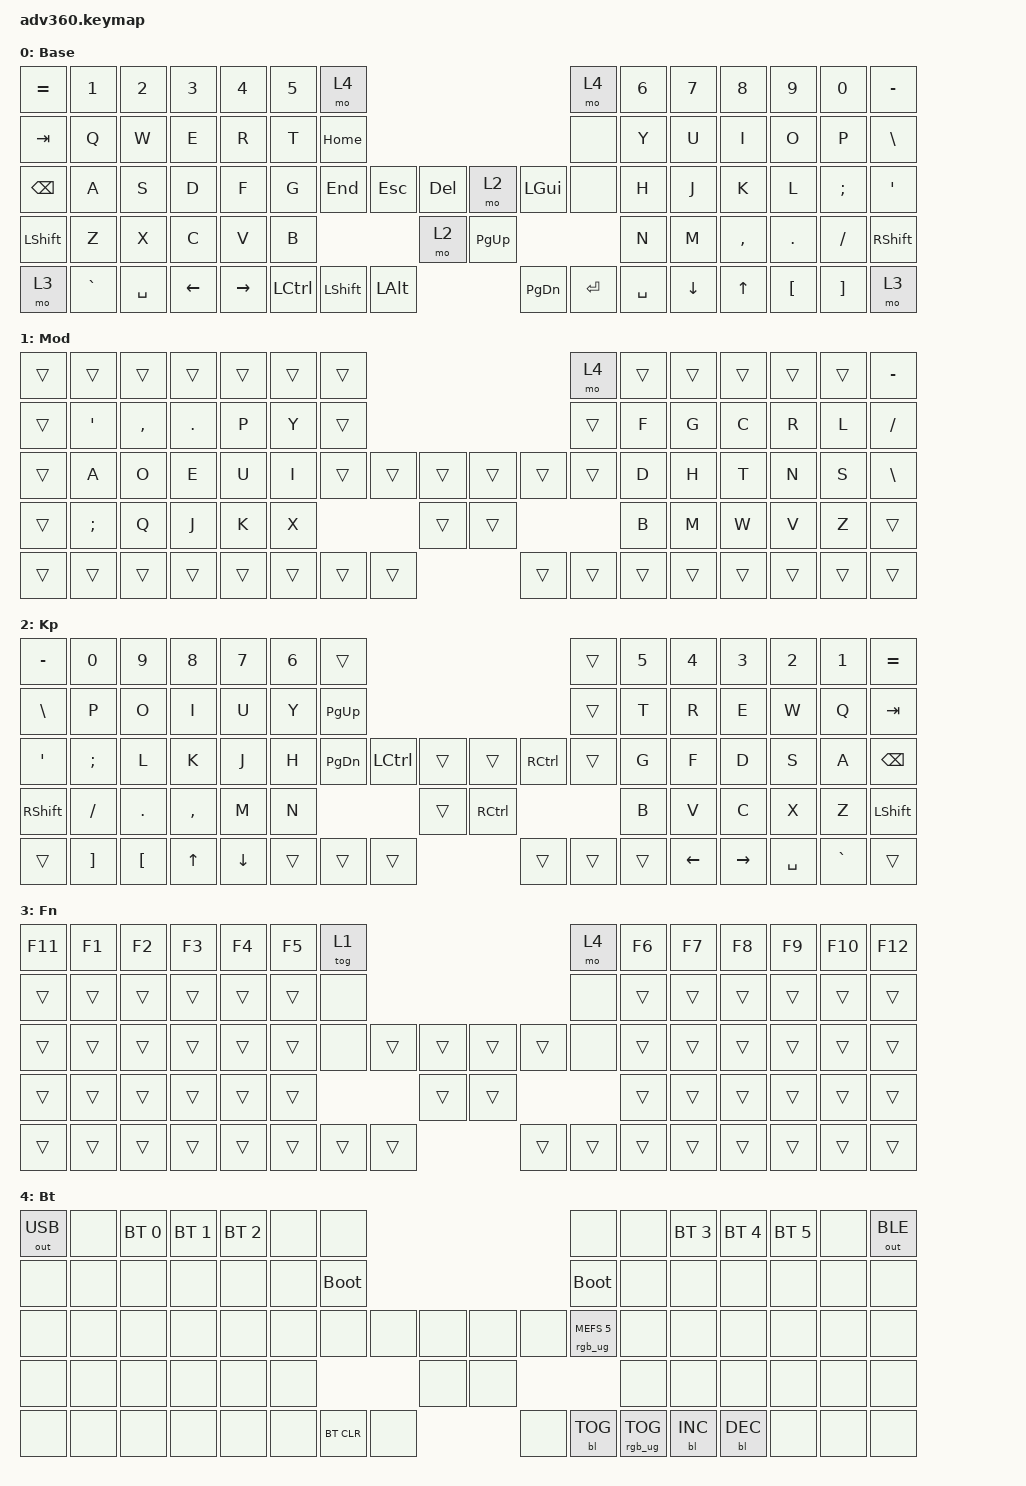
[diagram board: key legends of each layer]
#include <behaviors.dtsi>
#include <dt-bindings/zmk/keys.h>
#include <dt-bindings/zmk/bt.h>
#include <dt-bindings/zmk/rgb.h>
#include <dt-bindings/zmk/stp.h>
#include <dt-bindings/zmk/backlight.h>
#include <dt-bindings/zmk/pointing.h>
#include <dt-bindings/zmk/outputs.h>

/ {
    behaviors {
      #include "macros.dtsi"
      #include "version.dtsi"

      hm: homerow_mods {
          compatible = "zmk,behavior-hold-tap";
          label = "HOMEROW_MODS";
          #binding-cells = <2>;
          tapping-term-ms = <200>;
          quick_tap_ms = <175>;
          flavor = "tap-preferred";
          bindings = <&kp>, <&kp>;
      };
    };

  keymap {
    compatible = "zmk,keymap";

    default_layer {
      display-name = "Base";
      bindings = <
        &kp EQUAL &kp N1    &kp N2    &kp N3   &kp N4     &kp N5 &mo 4                                                             &mo 4 &kp N6 &kp N7   &kp N8    &kp N9   &kp N0   &kp MINUS
        &kp TAB   &kp Q     &kp W     &kp E    &kp R      &kp T  &kp HOME                                                          &none &kp Y  &kp U    &kp I     &kp O    &kp P    &kp BSLH
        &kp BSPC  &kp A     &kp S     &kp D    &kp F      &kp G  &kp END          &kp ESC   &kp DEL  &mo 2     &kp LGUI            &none &kp H  &kp J    &kp K     &kp L    &kp SEMI &kp SQT
        &kp LSHFT &kp Z     &kp X     &kp C    &kp V      &kp B                             &mo 2    &kp PG_UP                           &kp N  &kp M    &kp COMMA &kp DOT  &kp FSLH &kp RSHFT
        &mo 3     &kp GRAVE &kp SPACE &kp LEFT &kp RIGHT                &kp LCTRL &kp LSHFT &kp LALT &kp PG_DN &kp ENTER &kp SPACE              &kp DOWN &kp UP    &kp LBKT &kp RBKT &mo 3
      >;
    };
    mod {
      display-name = "Mod";
      bindings = <
        &trans &trans       &trans       &trans       &trans       &trans       &trans                                                                       &mo 4                  &trans        &trans        &trans        &trans &trans &kp MINUS
        &trans &kp SQT      &kp COMMA    &kp DOT      &kp P        &kp Y        &trans                                                                       &trans                 &kp F         &kp G         &kp C         &kp R  &kp L  &kp FSLH
        &trans &kp A        &kp O        &kp E        &kp U        &kp I        &trans                   &trans &trans &trans     &trans                     &trans                 &kp D         &kp H         &kp T         &kp N  &kp S  &kp BSLH
        &trans &kp SEMI     &kp Q        &kp J        &kp K        &kp X                                        &trans &trans                                                       &kp B         &kp M         &kp W         &kp V  &kp Z  &trans
        &trans &trans       &trans       &trans       &trans                                      &trans &trans &trans &trans     &trans     &trans                                               &trans        &trans        &trans &trans &trans
      >;
    };
    keypad {
      display-name = "Kp";
      bindings = <
        &kp MINUS &kp N0    &kp N9   &kp N8    &kp N7     &kp N6   &trans                                                           &trans &kp N5 &kp N4     &kp N3       &kp N2        &kp N1          &kp EQUAL
        &kp BSLH  &kp P     &kp O    &kp I     &kp U      &kp Y    &kp PG_UP                                                        &trans &kp T  &kp R      &kp E        &kp W         &kp Q           &kp TAB
        &kp SQT   &kp SEMI  &kp L    &kp K     &kp J      &kp H    &kp PG_DN       &kp LCTRL &trans   &trans    &kp RCTRL           &trans &kp G  &kp F      &kp D        &kp S         &kp A           &kp BSPC
        &kp RSHFT &kp FSLH  &kp DOT  &kp COMMA &kp M      &kp N                              &trans   &kp RCTRL                            &kp B  &kp V      &kp C        &kp X         &kp Z           &kp LSHFT
        &trans    &kp RBKT  &kp LBKT &kp UP    &kp DOWN                   &trans   &trans    &trans   &trans    &trans    &trans                  &kp LEFT   &kp RIGHT    &kp SPACE     &kp GRAVE       &trans
      >;
    };
    fn {
      display-name = "Fn";
      bindings = <
        &kp F11 &kp F1 &kp F2 &kp F3 &kp F4 &kp F5  &tog 1                                          &mo 4 &kp F6 &kp F7 &kp F8 &kp F9  &kp F10 &kp F12
        &trans  &trans &trans &trans &trans &trans  &none                                           &none &trans &trans &trans &trans  &trans  &trans
        &trans  &trans &trans &trans &trans &trans  &none        &trans &trans &trans &trans        &none &trans &trans &trans &trans  &trans  &trans
        &trans  &trans &trans &trans &trans &trans                      &trans &trans                     &trans &trans &trans &trans  &trans  &trans
        &trans  &trans &trans &trans &trans               &trans &trans &trans &trans &trans &trans              &trans &trans &trans  &trans  &trans
      >;
    };
    bt {
      display-name = "Bt";
      bindings = <
        &out OUT_USB &none        &bt BT_SEL 0 &bt BT_SEL 1 &bt BT_SEL 2 &none        &none                                                                     &none                  &none        &bt BT_SEL 3 &bt BT_SEL 4 &bt BT_SEL 5 &none        &out OUT_BLE
        &none        &none        &none        &none        &none        &none        &bootloader                                                               &bootloader            &none        &none        &none        &none        &none        &none
        &none        &none        &none        &none        &none        &none        &none                   &none      &none &none &none                      &rgb_ug RGB_MEFS_CMD 5 &none        &none        &none        &none        &none        &none
        &none        &none        &none        &none        &none        &none                                           &none &none                                                   &none        &none        &none        &none        &none        &none
        &none        &none        &none        &none        &none                                       &none &bt BT_CLR &none &none &bl BL_TOG &rgb_ug RGB_TOG                                     &bl BL_INC   &bl BL_DEC   &none        &none        &none
      >;
    };
    extra1 {
      display-name = "Red";
      status = "reserved";
    };

    extra2 {
      display-name = "Purple";
      status = "reserved";
    };

    extra3 {
      display-name = "Cyan";
      status = "reserved";
    };

    extra4 {
      display-name = "Yellow";
      status = "reserved";
    };
  };
};
